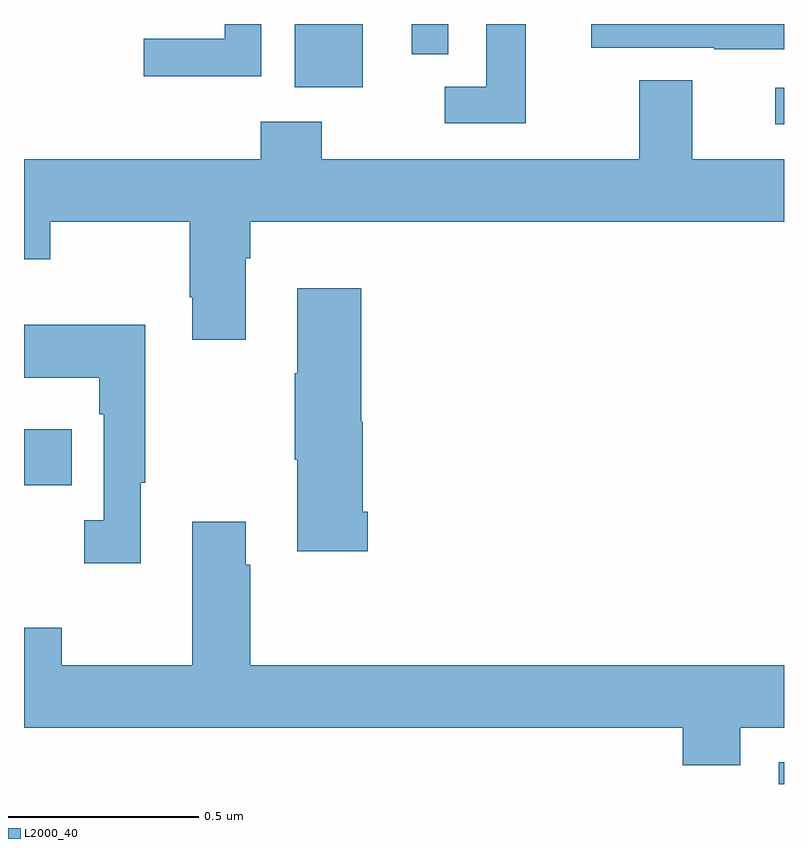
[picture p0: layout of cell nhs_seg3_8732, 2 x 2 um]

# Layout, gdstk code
import gdstk
lib = gdstk.Library(unit=1e-6, precision=1e-09)
def R(c, l, rs):  # rectangles x0, y0, x1, y1
    for r in rs: c.add(gdstk.rectangle(r[:2], r[2:], *l))
def P(c, l, *ps):  # polygons
    for p in ps: c.add(gdstk.Polygon(p, *l))
L2000_40 = (2000, 40)

nhs_seg3_8732 = lib.new_cell('nhs_seg3_8732')
R(nhs_seg3_8732, L2000_40, [(220.986,735.4,221,735.457), (219,736.186,219.125,736.333), (220.977,737.136,221,737.232), (219.713,737.234,219.892,737.4), (220.02,737.32,220.116,737.4)])
P(nhs_seg3_8732, L2000_40, [(219.624,737.4),(219.528,737.4),(219.528,737.361),(219.315,737.361),(219.315,737.263),(219.624,737.263)],
  [(221,737.4),(220.493,737.4),(220.493,737.337),(220.817,737.337),(220.817,737.333),(221,737.333)],
  [(220.321,737.4),(220.217,737.4),(220.217,737.235),(220.107,737.235),(220.107,737.139),(220.321,737.139)],
  [(219.583,736.784),(219.596,736.784),(219.596,736.88),(221,736.88),(221,737.044),(220.759,737.044),(220.759,737.252),(220.619,737.252),(220.619,737.044),(219.783,737.044),(219.783,737.143),(219.623,737.143),(219.623,737.044),(219,737.044),(219,736.781),(219.069,736.781),(219.069,736.88),(219.436,736.88),(219.436,736.681),(219.443,736.681),(219.443,736.569),(219.583,736.569)],
  [(219.905,736.117),(219.892,736.117),(219.892,736.353),(219.887,736.353),(219.887,736.705),(219.719,736.705),(219.719,736.481),(219.712,736.481),(219.712,736.253),(219.719,736.253),(219.719,736.013),(219.905,736.013)],
  [(219.307,736.193),(219.319,736.193),(219.319,736.609),(219,736.609),(219,736.469),(219.198,736.469),(219.198,736.373),(219.21,736.373),(219.21,736.094),(219.159,736.094),(219.159,735.981),(219.307,735.981)],
  [(220.885,735.548),(221,735.548),(221,735.712),(219.596,735.712),(219.596,735.977),(219.583,735.977),(219.583,736.09),(219.443,736.09),(219.443,735.712),(219.099,735.712),(219.099,735.811),(219,735.811),(219,735.548),(220.733,735.548),(220.733,735.449),(220.885,735.449)])

lib.write_gds('nhs_seg3_8732.gds')
